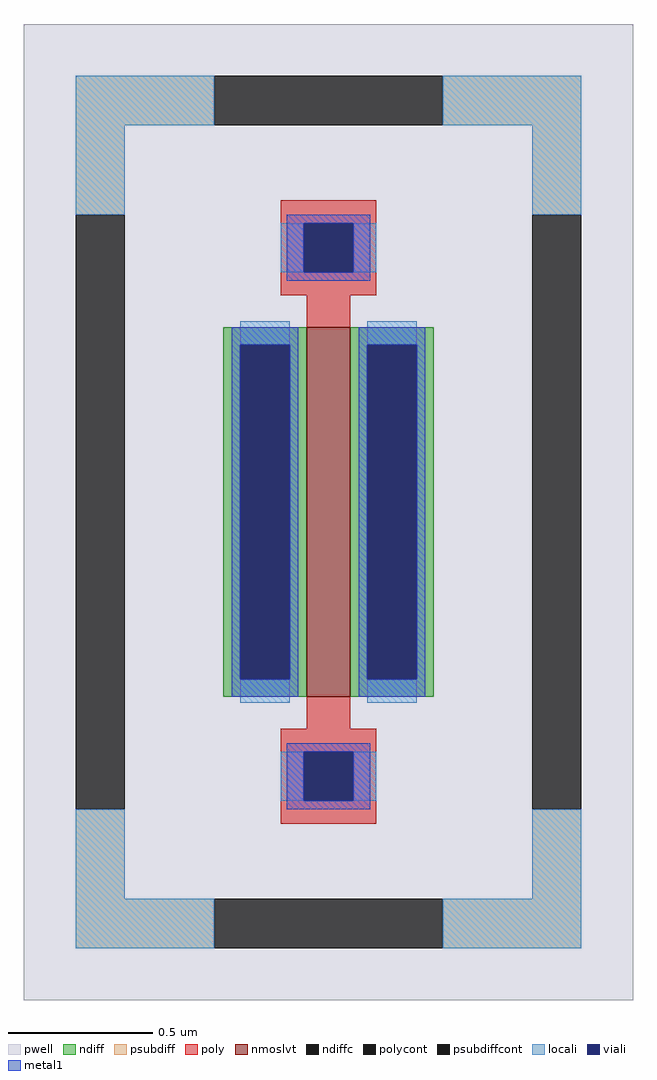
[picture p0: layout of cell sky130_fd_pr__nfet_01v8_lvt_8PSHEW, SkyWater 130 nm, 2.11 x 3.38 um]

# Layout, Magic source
magic
tech sky130A
magscale 1 2
<< pwell >>
rect -211 -338 211 338
<< nmoslvt >>
rect -15 -128 15 128
<< ndiff >>
rect -73 116 -15 128
rect -73 -116 -61 116
rect -27 -116 -15 116
rect -73 -128 -15 -116
rect 15 116 73 128
rect 15 -116 27 116
rect 61 -116 73 116
rect 15 -128 73 -116
<< ndiffc >>
rect -61 -116 -27 116
rect 27 -116 61 116
<< psubdiff >>
rect -175 268 -79 302
rect 79 268 175 302
rect -175 206 -141 268
rect 141 206 175 268
rect -175 -268 -141 -206
rect 141 -268 175 -206
rect -175 -302 -79 -268
rect 79 -302 175 -268
<< psubdiffcont >>
rect -79 268 79 302
rect -175 -206 -141 206
rect 141 -206 175 206
rect -79 -302 79 -268
<< poly >>
rect -33 200 33 216
rect -33 166 -17 200
rect 17 166 33 200
rect -33 150 33 166
rect -15 128 15 150
rect -15 -150 15 -128
rect -33 -166 33 -150
rect -33 -200 -17 -166
rect 17 -200 33 -166
rect -33 -216 33 -200
<< polycont >>
rect -17 166 17 200
rect -17 -200 17 -166
<< locali >>
rect -175 268 -79 302
rect 79 268 175 302
rect -175 206 -141 268
rect 141 206 175 268
rect -33 166 -17 200
rect 17 166 33 200
rect -61 116 -27 132
rect -61 -132 -27 -116
rect 27 116 61 132
rect 27 -132 61 -116
rect -33 -200 -17 -166
rect 17 -200 33 -166
rect -175 -268 -141 -206
rect 141 -268 175 -206
rect -175 -302 -79 -268
rect 79 -302 175 -268
<< viali >>
rect -17 166 17 200
rect -61 -116 -27 116
rect 27 -116 61 116
rect -17 -200 17 -166
<< metal1 >>
rect -29 200 29 206
rect -29 166 -17 200
rect 17 166 29 200
rect -29 160 29 166
rect -67 116 -21 128
rect -67 -116 -61 116
rect -27 -116 -21 116
rect -67 -128 -21 -116
rect 21 116 67 128
rect 21 -116 27 116
rect 61 -116 67 116
rect 21 -128 67 -116
rect -29 -166 29 -160
rect -29 -200 -17 -166
rect 17 -200 29 -166
rect -29 -206 29 -200
<< properties >>
string FIXED_BBOX -158 -285 158 285
string gencell sky130_fd_pr__nfet_01v8_lvt
string library sky130
string parameters w 1.28 l 0.150 m 1 nf 1 diffcov 100 polycov 100 guard 1 glc 1 grc 1 gtc 1 gbc 1 tbcov 100 rlcov 100 topc 1 botc 1 poverlap 0 doverlap 1 lmin 0.15 wmin 0.42 compatible {sky130_fd_pr__nfet_01v8 sky130_fd_pr__nfet_01v8_lvt  sky130_fd_bs_flash__special_sonosfet_star  sky130_fd_pr__nfet_g5v0d10v5 sky130_fd_pr__nfet_05v0_nvt  sky130_fd_pr__nfet_03v3_nvt} full_metal 1 viasrc 100 viadrn 100 viagate 100 viagb 0 viagr 0 viagl 0 viagt 0
<< end >>
